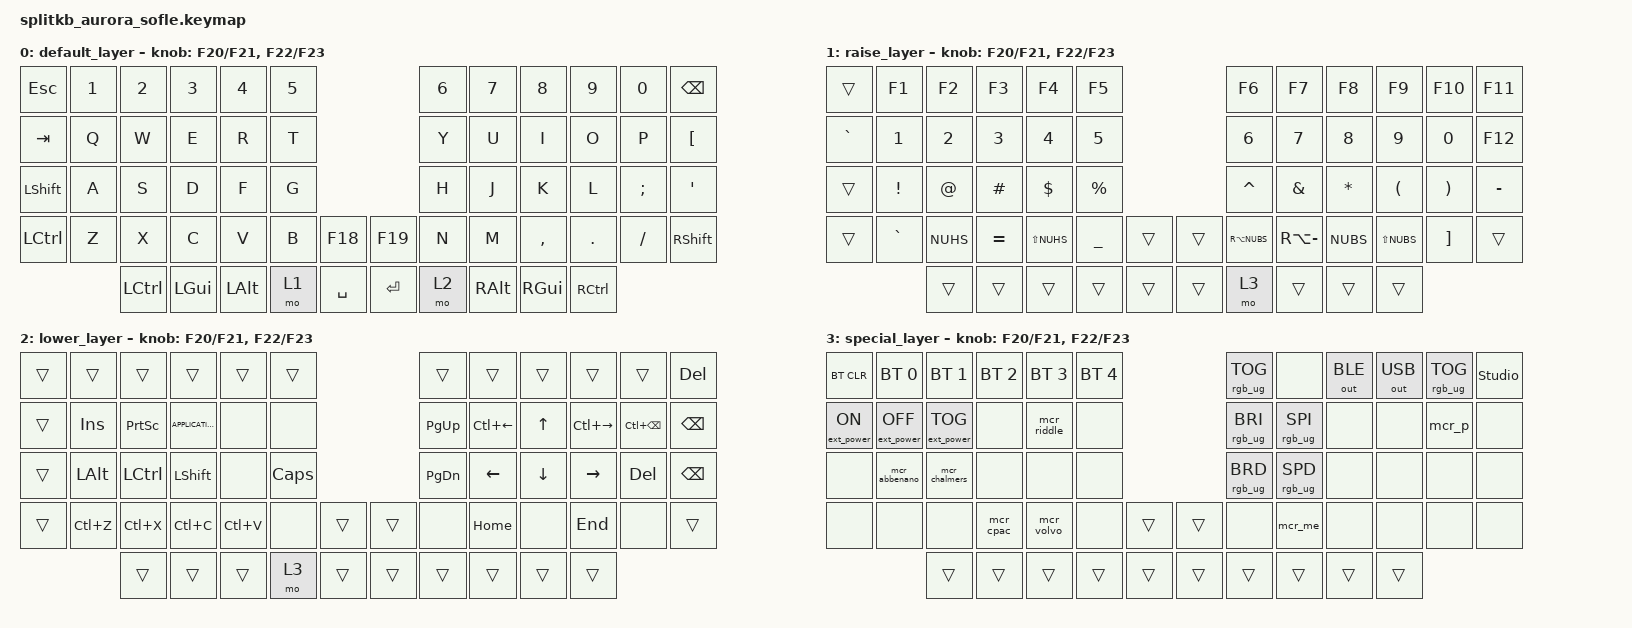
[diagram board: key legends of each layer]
/*
 * Copyright (c) 2023 The ZMK Contributors
 *
 * SPDX-License-Identifier: MIT
 */

#include <behaviors.dtsi>
#include <dt-bindings/zmk/keys.h>
#include <dt-bindings/zmk/bt.h>
#include <dt-bindings/zmk/ext_power.h>
#include <dt-bindings/zmk/outputs.h>
#include <dt-bindings/zmk/rgb.h>

#define STRINGIFY(x) #x
#define EXPAND_AND_STRINGIFY(x) STRINGIFY(x)
#define MACRO(NAME, BINDINGS) \
  mcr_##NAME: mcr_##NAME { \
    label = EXPAND_AND_STRINGIFY(mcr_##NAME); \
    compatible = "zmk,behavior-macro"; \
    #binding-cells = <0>; \
    wait-ms = <20>; \
    tap-ms = <20>; \
    bindings = <BINDINGS>; \
  };

&gpio0 {
    extpwr_pull: extpwr_pull {
        gpio-hog;
        gpios = <13 GPIO_ACTIVE_HIGH>;
        output-low;
        line-name = "Disable ext power pin";
    };
};

&nice_view_spi {
    cs-gpios = <&gpio1 1 GPIO_ACTIVE_HIGH>;
};

&led_strip {
    //chain-length = <6>;
    chain-length = <35>; // Uncomment if using both per-key and underglow LEDs
    // chain-length = <29>; // Uncomment if using only per-key LEDs.
};

/ {
    macros {
        MACRO(me, &macro_tap &kp M &kp E &macro_press &kp RALT &macro_tap &kp N2 &macro_release &kp RALT &macro_tap &kp A &kp L &kp B &kp I &kp N &kp K &kp A &kp R &kp L &kp S &kp S &kp O &kp N &kp DOT &kp S &kp E)
        MACRO(p, &macro_press &kp RALT &macro_tap &kp N2 &macro_release &kp RALT &macro_tap &kp A &kp L &kp B &kp I &kp N &kp K &kp A &kp R &kp L &kp S &kp S &kp O &kp N &kp DOT &kp S &kp E)
        MACRO(riddle, &macro_tap &kp R &kp I &kp D &kp D &kp L &kp E &kp DOT &kp A &kp G &kp K &macro_press &kp RALT &macro_tap &kp N2 &macro_release &kp RALT &macro_tap &kp G &kp M &kp A &kp I &kp L &kp DOT &kp C &kp O &kp M)
        MACRO(cpac, &macro_tap &kp A &kp L &kp B &kp I &kp N &kp DOT &kp K &kp A &kp R &kp L &kp S &kp S &kp O &kp N &macro_press &kp RALT &macro_tap &kp N2 &macro_release &kp RALT &macro_tap &kp C &kp P &kp A &kp C &kp S &kp Y &kp S &kp T &kp E &kp M &kp S &kp DOT &kp S &kp E)
        MACRO(volvo, &macro_tap &kp A &kp L &kp B &kp I &kp N &kp DOT &kp K &kp A &kp R &kp L &kp S &kp S &kp O &kp N &kp DOT &kp N9 &macro_press &kp RALT &macro_tap &kp N2 &macro_release &kp RALT &macro_tap &kp C &kp O &kp N &kp S &kp U &kp L &kp T &kp A &kp N &kp T &kp DOT &kp V &kp O &kp L &kp V &kp O &kp DOT &kp C &kp O &kp M)
        MACRO(chalmers, &macro_tap &kp A &kp L &kp B &kp K &kp A &kp R &macro_press &kp RALT &macro_tap &kp N2 &macro_release &kp RALT &macro_tap &kp C &kp H &kp A &kp L &kp M &kp E &kp R &kp S &kp DOT &kp S &kp E)
        MACRO(abbenano, &macro_tap &kp A &kp B &kp B &kp E &kp N &kp A &kp N &kp O &kp DOT &kp N1 &kp N3 &macro_press &kp RALT &macro_tap &kp N2 &macro_release &kp RALT &macro_tap &kp G &kp M &kp A &kp I &kp L &kp DOT &kp C &kp O &kp M)
    };

    keymap {
        compatible = "zmk,keymap";

        default_layer {
// ------------------------------------------------------------------------------------------------------------
// |  ESC  |  1  |  2  |  3   |  4   |  5   |                   |  6   |  7    |  8    |  9   |   0  | BSPC  |
// |  TAB  |  Q  |  W  |  E   |  R   |  T   |                   |  Y   |  U    |  I    |  O   |   P  | LBKT  |
// |  SHFT |  A  |  S  |  D   |  F   |  G   |                   |  H   |  J    |  K    |  L   |   ;  |   '   |
// | CTRL  |  Z  |  X  |  C   |  V   |  B   |   F13  |  |  F14  |  N   |  M    |  ,    |  .   | FSLH | SHIFT |
//               |CTRL | GUI  | ALT  | RAISE|  SPACE |  | ENTER | LOWER| BSPC  | GUI   | CTRL |
            bindings = <
&kp ESC   &kp N1 &kp N2    &kp N3   &kp N4   &kp N5                     &kp N6 &kp N7   &kp N8    &kp N9   &kp N0   &kp BSPC
&kp TAB   &kp Q  &kp W     &kp E    &kp R    &kp T                      &kp Y  &kp U    &kp I     &kp O    &kp P    &kp LBKT
&kp LSHFT &kp A  &kp S     &kp D    &kp F    &kp G                      &kp H  &kp J    &kp K     &kp L    &kp SEMI &kp SQT
&kp LCTRL &kp Z  &kp X     &kp C    &kp V    &kp B  &kp F18    &kp F19  &kp N  &kp M    &kp COMMA &kp DOT  &kp FSLH &kp RSHFT
                 &kp LCTRL &kp LGUI &kp LALT &mo 1  &kp SPACE  &kp RET  &mo 2  &kp RALT &kp RGUI  &kp RIGHT_CONTROL
            >;

            sensor-bindings = <&inc_dec_kp F20 F21 &inc_dec_kp F22 F23>;
        };

        raise_layer {
// ------------------------------------------------------------------------------------------------------------
// | BTCLR | BT1 | BT2 |  BT3 |  BT4 |  BT5 |                   |      |       |  OUT_BLE |  OUT_USB  |  RGB_TOG  |  studio unlock  |
// |  F1   |  F2 |  F3 |  F4  |  F5  |  F6  |                   |  F7  |  F8   |  F9      |  F10      |  F11      |  F12            |
// |   `   |  !  |  @  |  #   |  $   |  %   |                   |  ^   |  &    |  *       |  (        |   )       |   ~             |
// |       |     |     |      |      |      |        |  |       |      |  _    |  +       |  {        |   }       |  "|"            |
//               |     |      |      |      |        |  |       |      |       |          |           |
            bindings = <
&trans    &kp F1    &kp F2    &kp F3    &kp F4       &kp F5                     &kp F6       &kp F7        &kp F8   &kp F9       &kp F10  &kp F11
&kp GRAVE &kp N1    &kp N2    &kp N3    &kp N4       &kp N5                     &kp N6       &kp N7        &kp N8   &kp N9       &kp N0   &kp F12
&trans    &kp EXCL  &kp AT    &kp HASH  &kp DLLR     &kp PRCNT                  &kp CARET    &kp AMPS      &kp STAR &kp LPAR     &kp RPAR &kp MINUS
&trans    &kp GRAVE &kp NUHS  &kp EQUAL &kp LS(NUHS) &kp UNDER   &trans &trans  &kp RA(NUBS) &kp RA(MINUS) &kp NUBS &kp LS(NUBS) &kp RBKT &trans
                    &trans    &trans    &trans       &trans      &trans &trans  &mo 3        &trans        &trans   &trans
            >;

            sensor-bindings = <&inc_dec_kp F20 F21 &inc_dec_kp F22 F23>;
        };

        lower_layer {
// ------------------------------------------------------------------------------------------------------------
// |       |     |     |      |      |      |                   |      |       |       |      |       | DEL |
// |   `   |  1  |  2  |  3   |  4   |  5   |                   |  6   |   7   |   8   |  9   |   0   |       |
// |   F1  |  F2 |  F3 |  F4  |  F5  |  F6  |                   |      |   <-  |   v   |  ^   |  ->   |       |
// |   F7  |  F8 |  F9 |  F10 |  F11 |  F12 |        |  |       |  +   |   -   |   =   |  [   |   ]   |   \   |
//               |     |      |      |      |        |  |       |      |       |       |      |
            bindings = <
&trans        &trans       &trans           &trans            &trans    &trans                         &trans        &trans       &trans   &trans        &trans            &kp DEL
&trans        &kp INSERT   &kp PRINTSCREEN  &kp K_APPLICATION &none     &none                          &kp PAGE_UP   &kp LC(LEFT) &kp UP   &kp LC(RIGHT) &kp LC(BACKSPACE) &kp BACKSPACE
&trans        &kp LEFT_ALT &kp LEFT_CONTROL &kp LEFT_SHIFT    &none     &kp CAPSLOCK                   &kp PAGE_DOWN &kp LEFT     &kp DOWN &kp RIGHT     &kp DEL           &kp BACKSPACE
&trans        &kp LC(Z)    &kp LC(X)        &kp LC(C)         &kp LC(V) &none         &trans  &trans   &none         &kp HOME     &none    &kp END       &none             &trans
                           &trans           &trans            &trans    &mo 3         &trans  &trans    &trans        &trans       &trans   &trans
            >;

            sensor-bindings = <&inc_dec_kp F20 F21 &inc_dec_kp F22 F23>;
        };

        special_layer {
// ------------------------------------------------------------------------------------------------------------
// |       |     |     |      |      |      |                   |      |       |       |      |       |       |
// |   `   |  1  |  2  |  3   |  4   |  5   |                   |  6   |   7   |   8   |  9   |   0   |       |
// |   F1  |  F2 |  F3 |  F4  |  F5  |  F6  |                   |      |   <-  |   v   |  ^   |  ->   |       |
// |   F7  |  F8 |  F9 |  F10 |  F11 |  F12 |        |  |       |  +   |   -   |   =   |  [   |   ]   |   \   |
//               |     |      |      |      |        |  |       |      |       |       |      |
            bindings = <
&bt BT_CLR       &bt BT_SEL 0      &bt BT_SEL 1      &bt BT_SEL 2 &bt BT_SEL 3 &bt BT_SEL 4                        &rgb_ug RGB_TOG &none              &out OUT_BLE &out OUT_USB &rgb_ug RGB_TOG &studio_unlock
&ext_power EP_ON &ext_power EP_OFF &ext_power EP_TOG &none        &mcr_riddle  &none                               &rgb_ug RGB_BRI &rgb_ug RGB_SPI    &none        &none        &mcr_p          &none
&none            &mcr_abbenano     &mcr_chalmers     &none        &none        &none                               &rgb_ug RGB_BRD &rgb_ug RGB_SPD    &none        &none        &none           &none
&none            &none             &none             &mcr_cpac    &mcr_volvo   &none            &trans  &trans     &none           &mcr_me            &none        &none        &none           &none
                                   &trans            &trans       &trans       &trans           &trans  &trans     &trans          &trans             &trans       &trans
            >;

            sensor-bindings = <&inc_dec_kp F20 F21 &inc_dec_kp F22 F23>;
        };
    };
};
